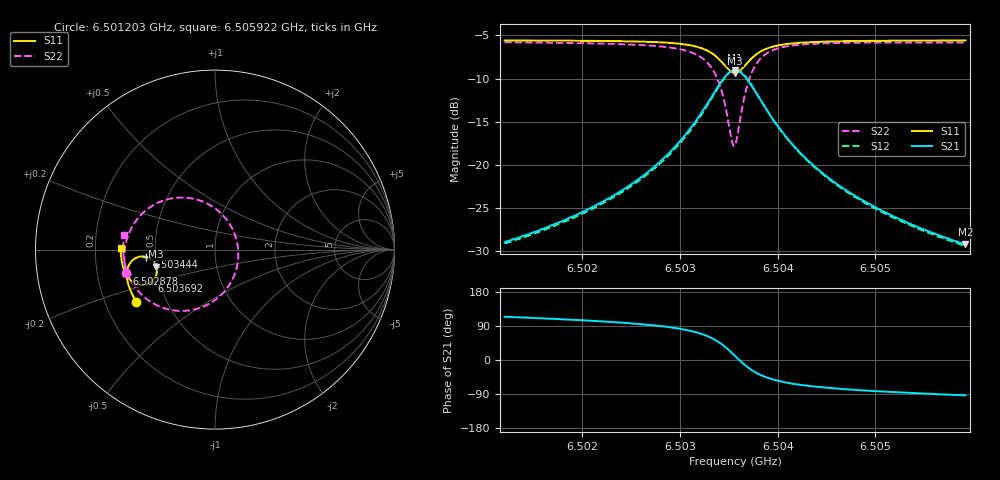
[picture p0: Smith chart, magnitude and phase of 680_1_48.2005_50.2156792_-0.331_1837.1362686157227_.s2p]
#  HZ  S  RI  R  50.00
! Rohde & Schwarz Vector Network Analyzer
! Rohde-Schwarz,ZNB20-2Port,1311601062101988,3.16
! Created: UTC 3/20/2024, 12:06:35 PM
! freq[Hz]  re:S11  im:S11  re:S21  im:S21  re:S12  im:S12  re:S22  im:S22
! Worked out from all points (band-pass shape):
!   401 points, 6.501203 GHz to 6.505922 GHz, reference 50 ohm
!   highest |S21| = -9.04 dB at 6.503562 GHz (marker M1); lowest = -29.2 dB at 6.505922 GHz (marker M2)
!   |S21| within 3 dB of the highest: 6.503327 GHz to 6.503798 GHz (471.7 kHz wide, 0.00725 % of centre)
!   lowest |S11| = -9.4 dB at 6.503562 GHz (marker M3), VSWR 2.03, Z = 25 - j5.4 ohm
!   |S11| at or under -10 dB: nowhere
!   |S22| runs from -17.8 to -5.8 dB; largest |S21 - S12| = 0.014
!   S11 on the Smith chart (normalised r, x): 6.501203 GHz: 0.34, -0.27; 6.502878 GHz: 0.33, -0.12; 6.503444 GHz: 0.45, -0.04; 6.503692 GHz: 0.46, -0.19; 6.505922 GHz: 0.31, +0.01
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6.5012027e9  -0.4387 -0.2899  -0.0145 0.0325  -0.0127 0.0327  -0.496 -0.133
6.5019931e9  -0.4706 -0.2292  -0.0137 0.0514  -0.0108 0.0507  -0.5052 -0.0449
6.5024414e9  -0.4851 -0.1877  -0.00993 0.0727  -0.00651 0.0714  -0.4991 0.0228
6.5027835e9  -0.4916 -0.1476  3.51e-05 0.1029  0.00423 0.1004  -0.477 0.0969
6.5028779e9  -0.4917 -0.1343  0.00592 0.1154  0.0104 0.1123  -0.4639 0.1238
6.5030784e9  -0.4856 -0.0997  0.0311 0.1523  0.0355 0.1471  -0.4118 0.1944
6.50322e9  -0.4689 -0.0694  0.0728 0.1872  0.0765 0.1803  -0.3312 0.2544
6.5033498e9  -0.4312 -0.0426  0.1532 0.2132  0.1549 0.2057  -0.1849 0.2901
6.5034442e9  -0.3825 -0.0409  0.2481 0.1951  0.2491 0.189  -0.0206 0.2436
6.5035267e9  -0.3381 -0.0722  0.329 0.1168  0.3321 0.1107  0.1086 0.089
6.5035621e9  -0.3271 -0.0955  0.347 0.0657  0.3511 0.0583  0.1296 -0.00681
6.5035857e9  -0.3241 -0.1125  0.3503 0.0298  0.3547 0.0207  0.1267 -0.0733
6.5036211e9  -0.3266 -0.1378  0.3423 -0.0226  0.3457 -0.0339  0.0972 -0.1661
6.5036919e9  -0.3502 -0.1765  0.2929 -0.1018  0.2919 -0.1155  -0.0191 -0.2939
6.5037863e9  -0.3929 -0.1967  0.2108 -0.1461  0.2047 -0.1579  -0.1859 -0.3416
6.5038571e9  -0.42 -0.1966  0.1614 -0.1511  0.1532 -0.1603  -0.2786 -0.3279
6.5039396e9  -0.4438 -0.1891  0.1192 -0.1446  0.1106 -0.151  -0.3523 -0.2948
6.5041048e9  -0.4737 -0.1677  0.0695 -0.1224  0.0619 -0.1252  -0.4328 -0.2248
6.5043525e9  -0.4963 -0.1362  0.0355 -0.0944  0.0298 -0.095  -0.4817 -0.1447
6.5047065e9  -0.5117 -0.0977  0.0156 -0.0693  0.0117 -0.0688  -0.5048 -0.0681
6.505143e9  -0.5209 -0.0561  0.00531 -0.0514  0.00252 -0.0506  -0.5113 -0.00202
6.5059216e9  -0.5257 0.0108  -0.00193 -0.0345  -0.00356 -0.0336  -0.5043 0.084
